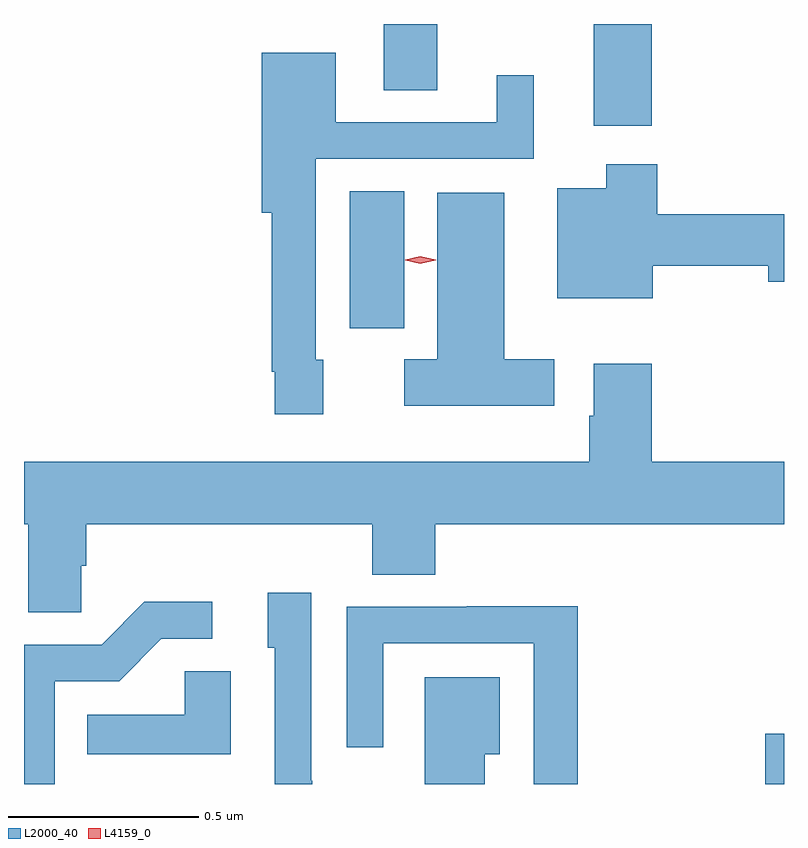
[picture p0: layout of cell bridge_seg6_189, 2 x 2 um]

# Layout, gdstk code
import gdstk
lib = gdstk.Library(unit=1e-6, precision=1e-09)
def R(c, l, rs):  # rectangles x0, y0, x1, y1
    for r in rs: c.add(gdstk.rectangle(r[:2], r[2:], *l))
def P(c, l, *ps):  # polygons
    for p in ps: c.add(gdstk.Polygon(p, *l))
L2000_40 = (2000, 40)
L4159_0 = (4159, 0)

bridge_seg6_189 = lib.new_cell('bridge_seg6_189')
R(bridge_seg6_189, L2000_40, [(279.222,981.284,279.272,981.416), (278.129,982.483,278.272,982.844), (278.771,983.016,278.924,983.284), (278.219,983.11,278.359,983.284)])
P(bridge_seg6_189, L2000_40, [(278.059,982.401),(278.04,982.401),(278.04,982.929),(278.614,982.929),(278.614,983.149),(278.516,983.149),(278.516,983.025),(278.092,983.025),(278.092,983.209),(277.898,983.209),(277.898,982.787),(277.924,982.787),(277.924,982.369),(277.932,982.369),(277.932,982.257),(278.059,982.257)],
  [(278.926,982.648),(279.23,982.648),(279.23,982.606),(279.272,982.606),(279.272,982.784),(278.939,982.784),(278.939,982.915),(278.804,982.915),(278.804,982.852),(278.675,982.852),(278.675,982.562),(278.926,982.562)],
  [(278.668,982.402),(278.536,982.402),(278.536,982.84),(278.36,982.84),(278.36,982.402),(278.272,982.402),(278.272,982.28),(278.668,982.28)],
  [(277.422,981.859),(277.436,981.859),(277.436,981.968),(278.189,981.968),(278.189,981.835),(278.354,981.835),(278.354,981.968),(279.272,981.968),(279.272,982.132),(278.924,982.132),(278.924,982.39),(278.771,982.39),(278.771,982.253),(278.759,982.253),(278.759,982.132),(277.272,982.132),(277.272,981.968),(277.283,981.968),(277.283,981.736),(277.422,981.736)],
  [(278.031,981.293),(278.028,981.293),(278.028,981.787),(277.913,981.787),(277.913,981.642),(277.932,981.642),(277.932,981.284),(278.031,981.284)],
  [(277.353,981.555),(277.522,981.555),(277.633,981.666),(277.768,981.666),(277.768,981.764),(277.589,981.764),(277.476,981.651),(277.272,981.651),(277.272,981.284),(277.353,981.284)],
  [(278.729,981.752),(278.437,981.752),(278.437,981.75),(278.121,981.75),(278.121,981.381),(278.217,981.381),(278.217,981.654),(278.613,981.654),(278.613,981.284),(278.729,981.284)],
  [(277.816,981.581),(277.695,981.581),(277.695,981.466),(277.438,981.466),(277.438,981.362),(277.816,981.362)],
  [(278.485,981.362),(278.524,981.362),(278.524,981.565),(278.327,981.565),(278.327,981.284),(278.485,981.284)])
P(bridge_seg6_189, L4159_0, [(278.315,982.653),(278.275,982.662),(278.275,982.663),(278.275,982.663),(278.315,982.673),(278.356,982.663),(278.356,982.663),(278.356,982.662)])

lib.write_gds('bridge_seg6_189.gds')
